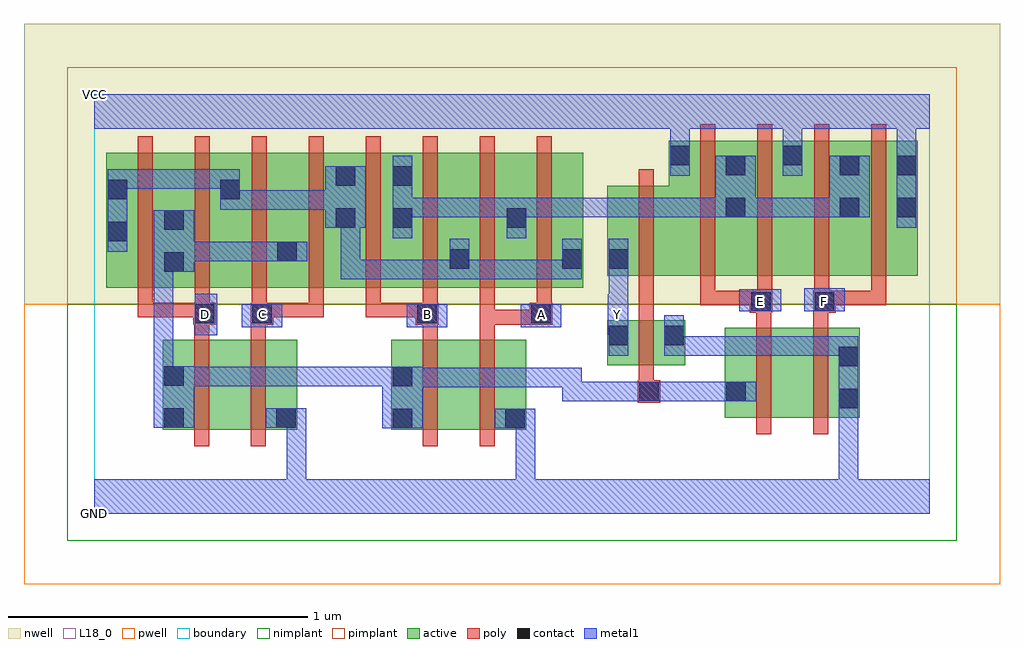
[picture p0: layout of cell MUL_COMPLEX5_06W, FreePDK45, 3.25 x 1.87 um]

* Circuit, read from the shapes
.subckt MUL_COMPLEX5_06W A B C D E F GND VCC Y
M1 n1 D n2 VSUBS nfet w=0.3u l=0.05u
M2 GND C n1 VSUBS nfet w=0.3u l=0.05u
M3 n3 B n2 VSUBS nfet w=0.3u l=0.05u
M4 GND A n3 VSUBS nfet w=0.3u l=0.05u
M5 GND n2 Y VSUBS nfet w=0.15u l=0.05u
M6 n4 E n2 VSUBS nfet w=0.3u l=0.05u
M7 GND F n4 VSUBS nfet w=0.3u l=0.05u
M8 n2 D n5 n6 pfet w=0.45u l=0.05u m=2
M9 n2 C n5 n6 pfet w=0.45u l=0.05u m=2
M10 n7 B n5 n6 pfet w=0.45u l=0.05u m=2
M11 n7 A n5 n6 pfet w=0.45u l=0.05u m=2
M12 VCC n2 Y n6 pfet w=0.3u l=0.05u
M13 n7 E VCC n6 pfet w=0.45u l=0.05u m=2
M14 n7 F VCC n6 pfet w=0.45u l=0.05u m=2
.ends

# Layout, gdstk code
import gdstk
lib = gdstk.Library(unit=1e-6, precision=1e-09)
def R(c, l, rs):  # rectangles x0, y0, x1, y1
    for r in rs: c.add(gdstk.rectangle(r[:2], r[2:], *l))
def A(c, l, x, y, w, h, nx, ny, dx, dy):  # array of equal rectangles
    R(c, l, [(x+i*dx, y+j*dy, x+i*dx+w, y+j*dy+h) for i in range(nx) for j in range(ny)])
active = (1, 0)
pwell = (2, 0)
nwell = (3, 0)
nimplant = (4, 0)
pimplant = (5, 0)
poly = (9, 0)
contact = (10, 0)
metal1 = (11, 0)
L18_0 = (18, 0)
boundary = (235, 0)

mul_complex5_06w = lib.new_cell('MUL_COMPLEX5_06W')
A(mul_complex5_06w, active, 0.8, 0.755, 0.265, 0.45, 3, 1, 0.19, 0)
A(mul_complex5_06w, active, 2.1, 0.795, 0.265, 0.45, 3, 1, 0.19, 0)
R(mul_complex5_06w, active, [(0.227,0.28,0.452,0.58), (0.227,0.28,0.302,0.58), (0.452,0.28,0.677,0.58), (0.602,0.28,0.677,0.58), (0.99,0.28,1.215,0.58), (0.99,0.28,1.065,0.58), (1.215,0.28,1.44,0.58), (1.365,0.28,1.44,0.58), (2.102,0.32,2.327,0.62), (2.327,0.32,2.552,0.62), (2.102,0.345,2.177,0.62), (2.477,0.345,2.552,0.62), (1.71,0.495,1.785,0.645), (1.71,0.495,1.97,0.645), (1.895,0.495,1.97,0.645), (0.04,0.755,0.115,1.2), (0.04,0.755,0.302,1.205), (0.227,0.755,0.302,1.07), (0.227,0.755,0.49,1.205), (0.415,0.755,0.68,1.205), (0.415,0.755,0.49,1.2), (0.605,0.755,0.68,1.07), (0.605,0.755,0.875,1.205), (0.8,0.755,0.875,1.2), (0.99,0.755,1.065,1.2), (1.18,0.755,1.255,1.07), (1.37,0.755,1.63,1.205), (1.37,0.755,1.445,1.2), (1.555,0.755,1.63,1.07), (1.71,0.795,1.99,1.095), (1.915,0.795,2.175,1.245), (2.1,0.795,2.175,1.2), (2.29,0.795,2.365,1.245), (2.48,0.795,2.555,1.2), (2.67,0.795,2.745,1.245), (1.71,0.812,1.785,1.055), (1.915,0.96,1.99,1.245)])
R(mul_complex5_06w, pwell, [(-0.235,-0.235,3.02,0.7)])
R(mul_complex5_06w, nwell, [(-0.235,0.7,3.02,1.635)])
R(mul_complex5_06w, nimplant, [(-0.09,-0.09,2.875,0.7)])
R(mul_complex5_06w, pimplant, [(-0.09,0.7,2.875,1.49)])
A(mul_complex5_06w, poly, 0.145, 0.655, 0.05, 0.095, 6, 1, 0.19, 0)
A(mul_complex5_06w, poly, 2.02, 0.695, 0.05, 0.095, 4, 1, 0.19, 0)
A(mul_complex5_06w, poly, 0.145, 0.7, 0.05, 0.56, 8, 1, 0.19, 0)
A(mul_complex5_06w, poly, 2.02, 0.74, 0.05, 0.56, 4, 1, 0.19, 0)
R(mul_complex5_06w, poly, [(0.332,0.225,0.382,0.635), (0.522,0.225,0.572,0.635), (1.095,0.225,1.145,0.635), (1.285,0.225,1.335,0.635), (2.207,0.265,2.257,0.675), (2.397,0.265,2.447,0.675), (1.812,0.37,1.887,0.445), (1.815,0.395,1.865,0.49), (1.815,0.44,1.865,0.7), (0.332,0.585,0.382,0.68), (0.522,0.585,0.572,0.68), (1.095,0.585,1.145,0.68), (1.285,0.585,1.335,0.68), (2.207,0.625,2.257,0.72), (2.397,0.625,2.447,0.72), (0.33,0.63,0.405,0.705), (0.522,0.63,0.597,0.705), (1.072,0.63,1.147,0.705), (1.285,0.63,1.335,0.68), (1.285,0.63,1.335,0.68), (1.285,0.63,1.335,0.68), (1.285,0.63,1.502,0.68), (1.285,0.63,1.335,0.75), (1.452,0.63,1.527,0.705), (1.815,0.65,1.865,0.745), (0.145,0.655,0.195,0.705), (0.145,0.655,0.38,0.705), (0.33,0.655,0.38,0.705), (0.33,0.655,0.38,0.705), (0.547,0.655,0.765,0.705), (0.715,0.655,0.765,0.705), (0.715,0.655,0.765,0.705), (0.715,0.655,0.765,0.705), (0.905,0.655,0.955,0.705), (0.905,0.655,1.122,0.705), (1.072,0.655,1.122,0.705), (1.072,0.655,1.122,0.705), (1.475,0.655,1.525,0.75), (2.185,0.67,2.26,0.745), (2.397,0.67,2.472,0.745), (1.815,0.695,1.865,0.79), (1.815,0.695,1.865,0.745), (2.02,0.695,2.07,0.745), (2.02,0.695,2.07,0.745), (2.02,0.695,2.07,0.745), (2.02,0.695,2.235,0.745), (2.422,0.695,2.64,0.745), (2.59,0.695,2.64,0.745), (2.59,0.695,2.64,0.745), (2.59,0.695,2.64,0.745), (1.815,0.74,1.865,1.15)])
R(mul_complex5_06w, contact, [(0.995,0.285,1.06,0.35), (1.37,0.285,1.435,0.35), (0.232,0.287,0.297,0.352), (0.607,0.287,0.672,0.352), (2.482,0.352,2.547,0.417), (1.817,0.375,1.882,0.44), (2.107,0.375,2.172,0.44), (0.995,0.425,1.06,0.49), (0.232,0.427,0.297,0.492), (2.482,0.492,2.547,0.557), (1.715,0.562,1.78,0.627), (1.9,0.562,1.965,0.627), (0.335,0.635,0.4,0.7), (0.527,0.635,0.592,0.7), (1.077,0.635,1.142,0.7), (1.457,0.635,1.522,0.7), (2.19,0.675,2.255,0.74), (2.402,0.675,2.467,0.74), (0.232,0.807,0.297,0.872), (1.185,0.817,1.25,0.882), (1.56,0.817,1.625,0.882), (1.715,0.817,1.78,0.882), (0.61,0.842,0.675,0.907), (0.045,0.91,0.11,0.975), (0.232,0.947,0.297,1.012), (0.805,0.955,0.87,1.02), (0.995,0.955,1.06,1.02), (1.375,0.955,1.44,1.02), (2.105,0.99,2.17,1.055), (2.485,0.99,2.55,1.055), (2.675,0.99,2.74,1.055), (0.045,1.05,0.11,1.115), (0.42,1.05,0.485,1.115), (0.805,1.095,0.87,1.16), (0.995,1.095,1.06,1.16), (2.105,1.13,2.17,1.195), (2.485,1.13,2.55,1.195), (2.675,1.13,2.74,1.195), (1.92,1.162,1.985,1.227), (2.295,1.162,2.36,1.227)])
R(mul_complex5_06w, metal1, [(0,0,2.785,0.115), (0.642,0.05,0.707,0.352), (1.405,0.05,1.47,0.115), (1.405,0.05,1.47,0.115), (1.405,0.05,1.47,0.35), (2.482,0.05,2.547,0.115), (2.482,0.05,2.547,0.115), (2.482,0.05,2.547,0.115), (2.482,0.05,2.547,0.115), (2.482,0.05,2.547,0.382), (0.96,0.285,1.095,0.49), (1.335,0.285,1.47,0.35), (1.405,0.285,1.47,0.35), (1.405,0.285,1.47,0.35), (0.197,0.287,0.332,0.492), (0.572,0.287,0.707,0.352), (0.642,0.287,0.707,0.352), (0.642,0.287,0.707,0.352), (0.642,0.287,0.707,0.352), (0.642,0.287,0.707,0.352), (2.482,0.317,2.547,0.592), (1.56,0.375,1.625,0.44), (1.56,0.375,1.625,0.44), (1.56,0.375,1.625,0.44), (1.56,0.375,1.847,0.44), (1.56,0.375,1.625,0.487), (1.782,0.375,1.917,0.44), (1.852,0.375,1.917,0.44), (1.852,0.375,1.917,0.44), (1.852,0.375,2.067,0.44), (2.002,0.375,2.067,0.44), (2.002,0.375,2.137,0.44), (2.072,0.375,2.207,0.44), (1.03,0.422,1.095,0.487), (1.03,0.422,1.095,0.487), (1.03,0.422,1.262,0.487), (1.197,0.422,1.262,0.487), (1.197,0.422,1.262,0.487), (1.197,0.422,1.262,0.487), (1.197,0.422,1.487,0.487), (1.422,0.422,1.625,0.487), (1.422,0.422,1.487,0.487), (1.422,0.422,1.487,0.487), (1.422,0.422,1.487,0.487), (1.56,0.422,1.625,0.487), (1.56,0.422,1.625,0.487), (1.56,0.422,1.625,0.487), (0.267,0.425,0.47,0.49), (0.267,0.425,0.332,0.49), (0.267,0.425,0.332,0.49), (0.405,0.425,0.47,0.49), (0.405,0.425,0.47,0.49), (0.405,0.425,0.47,0.49), (0.405,0.425,0.697,0.49), (0.632,0.425,0.697,0.49), (0.632,0.425,0.697,0.49), (0.632,0.425,0.697,0.49), (0.632,0.425,0.847,0.49), (0.782,0.425,0.847,0.49), (0.782,0.425,0.847,0.49), (0.782,0.425,0.847,0.49), (0.782,0.425,1.025,0.49), (0.197,0.427,0.262,0.492), (0.197,0.427,0.262,0.492), (0.197,0.427,0.262,0.872), (1.715,0.527,1.78,0.662), (1.9,0.527,1.965,0.662), (1.9,0.527,2.067,0.592), (2.002,0.527,2.067,0.592), (2.002,0.527,2.222,0.592), (2.157,0.527,2.222,0.592), (2.157,0.527,2.222,0.592), (2.157,0.527,2.222,0.592), (2.157,0.527,2.377,0.592), (2.312,0.527,2.377,0.592), (2.312,0.527,2.547,0.592), (2.482,0.527,2.547,0.592), (2.482,0.527,2.547,0.592), (2.482,0.527,2.547,0.592), (2.482,0.527,2.547,0.592), (2.482,0.527,2.547,0.592), (2.482,0.527,2.547,0.592), (0.335,0.595,0.41,0.735), (1.712,0.597,1.78,0.732), (1.715,0.597,1.78,0.662), (0.492,0.622,0.627,0.7), (1.042,0.622,1.177,0.7), (1.422,0.622,1.557,0.7), (1.715,0.667,1.78,0.847), (2.15,0.675,2.29,0.75), (2.367,0.675,2.502,0.752), (0.822,0.782,0.887,0.847), (0.822,0.782,0.887,0.847), (0.822,0.782,0.887,0.847), (0.822,0.782,1.095,0.847), (0.822,0.782,0.887,1.02), (1.03,0.782,1.095,0.847), (1.03,0.782,1.095,0.847), (1.03,0.782,1.095,0.847), (1.03,0.782,1.25,0.847), (1.185,0.782,1.25,0.847), (1.185,0.782,1.25,0.847), (1.185,0.782,1.25,0.917), (1.185,0.782,1.487,0.847), (1.422,0.782,1.625,0.847), (1.422,0.782,1.487,0.847), (1.422,0.782,1.487,0.847), (1.422,0.782,1.487,0.847), (1.56,0.782,1.625,0.917), (1.715,0.782,1.78,0.917), (0.197,0.807,0.332,1.012), (0.267,0.842,0.47,0.907), (0.267,0.842,0.332,0.907), (0.267,0.842,0.332,0.907), (0.405,0.842,0.47,0.907), (0.405,0.842,0.47,0.907), (0.405,0.842,0.47,0.907), (0.405,0.842,0.64,0.907), (0.575,0.842,0.71,0.907), (0.045,0.875,0.11,1.15), (0.995,0.92,1.06,1.195), (1.375,0.92,1.44,1.055), (0.77,0.955,0.905,1.16), (2.675,0.955,2.74,1.23), (0.995,0.99,1.06,1.055), (0.995,0.99,1.06,1.055), (0.995,0.99,1.232,1.055), (1.167,0.99,1.232,1.055), (1.167,0.99,1.232,1.055), (1.167,0.99,1.232,1.055), (1.167,0.99,1.44,1.055), (1.375,0.99,1.44,1.055), (1.375,0.99,1.44,1.055), (1.375,0.99,1.625,1.055), (1.56,0.99,1.625,1.055), (1.56,0.99,1.78,1.055), (1.715,0.99,1.78,1.055), (1.715,0.99,1.78,1.055), (1.715,0.99,1.78,1.055), (1.715,0.99,1.917,1.055), (1.852,0.99,1.917,1.055), (1.852,0.99,1.917,1.055), (1.852,0.99,1.917,1.055), (1.852,0.99,2.067,1.055), (2.002,0.99,2.067,1.055), (2.002,0.99,2.135,1.055), (2.07,0.99,2.205,1.195), (2.14,0.99,2.205,1.055), (2.14,0.99,2.205,1.055), (2.14,0.99,2.377,1.055), (2.312,0.99,2.515,1.055), (2.312,0.99,2.377,1.055), (2.312,0.99,2.377,1.055), (2.312,0.99,2.377,1.055), (2.45,0.99,2.585,1.195), (0.42,1.015,0.485,1.08), (0.42,1.015,0.485,1.08), (0.42,1.015,0.485,1.15), (0.42,1.015,0.622,1.08), (0.557,1.015,0.622,1.08), (0.557,1.015,0.622,1.08), (0.557,1.015,0.622,1.08), (0.557,1.015,0.835,1.08), (0.045,1.085,0.11,1.15), (0.045,1.085,0.11,1.15), (0.045,1.085,0.332,1.15), (0.267,1.085,0.332,1.15), (0.267,1.085,0.332,1.15), (0.267,1.085,0.332,1.15), (0.267,1.085,0.485,1.15), (1.92,1.127,1.985,1.262), (2.295,1.127,2.36,1.262), (2.675,1.165,2.74,1.35), (1.92,1.197,1.985,1.35), (2.295,1.197,2.36,1.35), (0,1.285,2.785,1.4)])
R(mul_complex5_06w, L18_0, [(0,0,2.785,0.115), (0.642,0.05,0.707,0.352), (1.405,0.05,1.47,0.115), (1.405,0.05,1.47,0.115), (1.405,0.05,1.47,0.35), (2.482,0.05,2.547,0.115), (2.482,0.05,2.547,0.115), (2.482,0.05,2.547,0.115), (2.482,0.05,2.547,0.115), (2.482,0.05,2.547,0.382), (1.335,0.285,1.47,0.35), (1.405,0.285,1.47,0.35), (1.405,0.285,1.47,0.35), (0.572,0.287,0.707,0.352), (0.642,0.287,0.707,0.352), (0.642,0.287,0.707,0.352), (0.642,0.287,0.707,0.352), (0.642,0.287,0.707,0.352), (2.482,0.317,2.547,0.592), (1.715,0.527,1.78,0.662), (1.9,0.527,1.965,0.662), (1.9,0.527,2.067,0.592), (2.002,0.527,2.067,0.592), (2.002,0.527,2.222,0.592), (2.157,0.527,2.222,0.592), (2.157,0.527,2.222,0.592), (2.157,0.527,2.222,0.592), (2.157,0.527,2.377,0.592), (2.312,0.527,2.377,0.592), (2.312,0.527,2.547,0.592), (2.482,0.527,2.547,0.592), (2.482,0.527,2.547,0.592), (2.482,0.527,2.547,0.592), (2.482,0.527,2.547,0.592), (2.482,0.527,2.547,0.592), (2.482,0.527,2.547,0.592), (0.335,0.595,0.41,0.735), (1.712,0.597,1.78,0.732), (1.715,0.597,1.78,0.662), (0.492,0.622,0.627,0.7), (1.042,0.622,1.177,0.7), (1.422,0.622,1.557,0.7), (0.337,0.632,0.402,0.697), (0.527,0.632,0.592,0.697), (1.077,0.632,1.142,0.697), (1.457,0.632,1.522,0.697), (1.712,0.632,1.777,0.697), (1.715,0.667,1.78,0.847), (2.15,0.675,2.29,0.75), (2.367,0.675,2.502,0.752), (2.187,0.677,2.252,0.742), (2.402,0.677,2.467,0.742), (1.715,0.782,1.78,0.917), (2.675,0.955,2.74,1.23), (1.92,1.127,1.985,1.262), (2.295,1.127,2.36,1.262), (2.675,1.165,2.74,1.35), (1.92,1.197,1.985,1.35), (2.295,1.197,2.36,1.35), (0,1.285,2.785,1.4)])
R(mul_complex5_06w, boundary, [(0,0,2.785,1.4)])
mul_complex5_06w.add(gdstk.Label('A', (1.49,0.665), layer=11, texttype=0))
mul_complex5_06w.add(gdstk.Label('B', (1.11,0.665), layer=11, texttype=0))
mul_complex5_06w.add(gdstk.Label('C', (0.56,0.665), layer=11, texttype=0))
mul_complex5_06w.add(gdstk.Label('D', (0.37,0.665), layer=11, texttype=0))
mul_complex5_06w.add(gdstk.Label('E', (2.22,0.71), layer=11, texttype=0))
mul_complex5_06w.add(gdstk.Label('F', (2.435,0.71), layer=11, texttype=0))
mul_complex5_06w.add(gdstk.Label('Y', (1.745,0.665), layer=11, texttype=0))
mul_complex5_06w.add(gdstk.Label('VCC', (0,1.4), layer=11, texttype=0))
mul_complex5_06w.add(gdstk.Label('GND', (0,0), layer=11, texttype=0))

lib.write_gds('MUL_COMPLEX5_06W.gds')
